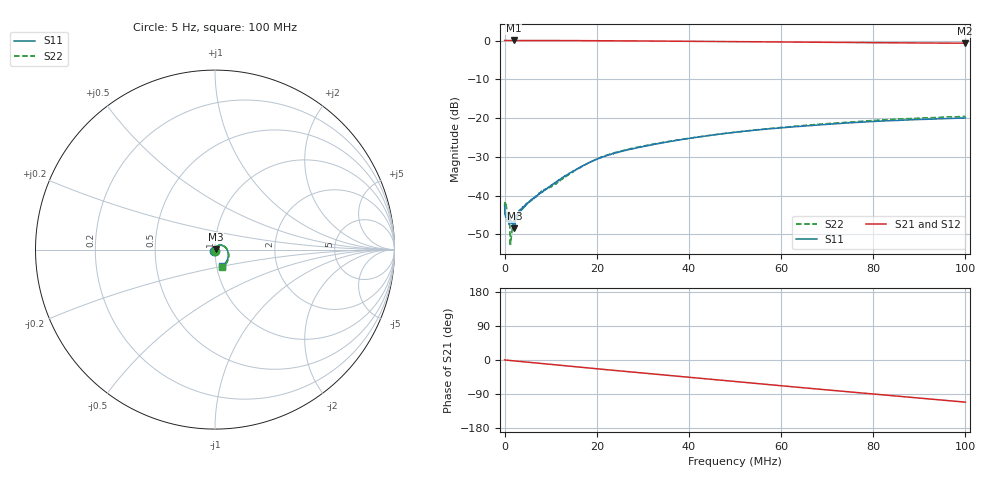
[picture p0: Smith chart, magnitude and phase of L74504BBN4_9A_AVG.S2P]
!Agilent Technologies,E5061B,MY49102235,A.02.00
!Date: Tue Jul 11 16:37:41 2023
!Data & Calibration Information:
!Freq	S11:SOLT2(ON)	S21:SOLT2(ON)	S12:SOLT2(ON)	S22:SOLT2(ON)
# Hz S RI R 50
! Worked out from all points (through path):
!   1600 points, 5 Hz to 100 MHz, reference 50 ohm
!   highest |S21| = 0.02 dB at 1.939 MHz (marker M1); lowest = -0.7 dB at 99.81 MHz (marker M2)
!   group delay of S21, straight-line fit = 3.09 ns
!   lowest |S11| = -48.4 dB at 2.126 MHz (marker M3), VSWR 1.01, Z = 50.3 + j0.243 ohm
!   |S11| at or under -10 dB: start of sweep to end of sweep
!   |S22| runs from -53.0 to -19.6 dB; largest |S21 - S12| = 0.0026
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5  -0.0051 -0.00563  1.002 0.00802  1 0.0102  -0.00149 -0.00754
562856.8  0.00592 0.000659  1.001 -0.0108  1.001 -0.0105  0.00603 -0.000158
1000630  0.00385 0.00176  1.001 -0.019  1.001 -0.0185  0.00521 0.000851
1313326  0.00461 0.00113  1.001 -0.0248  1.001 -0.0249  0.00283 -0.000447
1688560  0.00402 0.00157  1 -0.0336  1.001 -0.0335  0.00375 0.000734
1938717  0.00334 0.00259  1.002 -0.0384  1.001 -0.0381  0.00364 0.00284
2126334  0.00291 0.00242  1.001 -0.0426  1 -0.0422  0.00408 0.00298
2564107  0.004 0.00328  0.9995 -0.0515  0.9997 -0.0512  0.00357 0.00349
3126959  0.00487 0.00409  0.999 -0.0626  0.9987 -0.0624  0.00373 0.00429
4377741  0.00495 0.0055  0.9972 -0.0876  0.9968 -0.0875  0.0044 0.00601
5315827  0.0051 0.00648  0.9952 -0.1063  0.9952 -0.1062  0.00455 0.00688
7942469  0.00565 0.00932  0.9883 -0.159  0.9881 -0.1589  0.00537 0.00982
1.288306e7  0.0086 0.0154  0.9659 -0.2565  0.9657 -0.2561  0.00744 0.0153
1.669794e7  0.0129 0.02  0.9411 -0.3294  0.941 -0.3291  0.0124 0.02
2.013759e7  0.0187 0.0231  0.9144 -0.3925  0.9143 -0.3924  0.0196 0.0227
2.332708e7  0.0241 0.0247  0.8857 -0.449  0.8854 -0.4488  0.0257 0.0238
3.333334e7  0.0409 0.0229  0.7731 -0.6094  0.773 -0.6091  0.0419 0.0223
5.003127e7  0.0657 0.00306  0.5287 -0.812  0.5287 -0.8117  0.0658 0.00339
6.672921e7  0.0739 -0.0311  0.2411 -0.9209  0.2413 -0.9208  0.0764 -0.0301
8.33646e7  0.0646 -0.066  -0.0546 -0.9345  -0.0545 -0.9345  0.0678 -0.0674
9.981238e7  0.039 -0.0926  -0.3313 -0.8624  -0.3312 -0.8625  0.042 -0.0962
1e8  0.0385 -0.0929  -0.3344 -0.8612  -0.3343 -0.8611  0.0416 -0.0966
